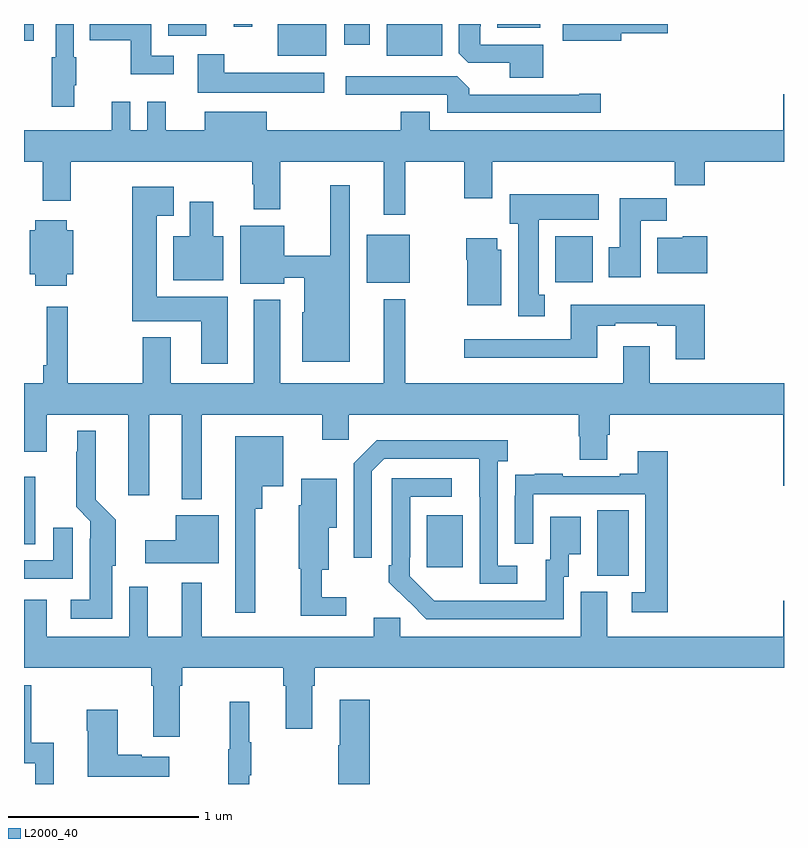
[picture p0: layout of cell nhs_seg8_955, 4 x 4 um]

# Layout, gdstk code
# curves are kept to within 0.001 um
import gdstk
lib = gdstk.Library(unit=1e-6, precision=1e-09)
def R(c, l, rs):  # rectangles x0, y0, x1, y1
    for r in rs: c.add(gdstk.rectangle(r[:2], r[2:], *l))
def P(c, l, *ps):  # polygons
    for p in ps: c.add(gdstk.Polygon(p, *l))
L2000_40 = (2000, 40)

nhs_seg8_955 = lib.new_cell('nhs_seg8_955')
R(nhs_seg8_955, L2000_40, [(176.018,1104.997,176.182,1105.34), (175.121,1105.041,175.309,1105.315), (173,1105.162,173.059,1105.516), (174.803,1106.537,175.03,1106.791), (175.796,1106.54,175.993,1106.782), (174.335,1107.734,174.592,1107.9), (174.908,1107.734,175.201,1107.9), (174.686,1107.792,174.82,1107.9), (173,1107.813,173.05,1107.9), (173.759,1107.839,173.959,1107.9), (175.49,1107.881,175.717,1107.9), (174.104,1107.885,174.202,1107.9)])
P(nhs_seg8_955, L2000_40, [(175.732,1107.792),(175.401,1107.792),(175.401,1107.889),(175.405,1107.889),(175.405,1107.9),(175.289,1107.9),(175.289,1107.745),(175.338,1107.696),(175.556,1107.696),(175.556,1107.617),(175.732,1107.617)],
  [(173.788,1107.732),(173.67,1107.732),(173.67,1107.9),(173.347,1107.9),(173.347,1107.814),(173.562,1107.814),(173.562,1107.635),(173.788,1107.635)],
  [(173.264,1107.577),(173.275,1107.577),(173.275,1107.725),(173.262,1107.725),(173.262,1107.9),(173.166,1107.9),(173.166,1107.725),(173.146,1107.725),(173.146,1107.465),(173.264,1107.465)],
  [(176.143,1107.851),(176.389,1107.851),(176.389,1107.9),(175.836,1107.9),(175.836,1107.812),(176.143,1107.812)],
  [(174.58,1107.643),(174.055,1107.643),(174.055,1107.742),(173.915,1107.742),(173.915,1107.539),(174.58,1107.539)],
  [(176.035,1107.533),(175.922,1107.533),(175.922,1107.528),(175.343,1107.528),(175.343,1107.562),(175.281,1107.624),(174.693,1107.624),(174.693,1107.528),(175.227,1107.528),(175.227,1107.432),(176.035,1107.432)],
  [(175.007,1107.176),(175.318,1107.176),(175.318,1106.982),(175.465,1106.982),(175.465,1107.176),(176.425,1107.176),(176.425,1107.052),(176.582,1107.052),(176.582,1107.176),(177,1107.176),(177,1107.529),(176.996,1107.529),(176.996,1107.34),(175.135,1107.34),(175.135,1107.439),(174.983,1107.439),(174.983,1107.34),(174.277,1107.34),(174.277,1107.439),(173.951,1107.439),(173.951,1107.34),(173.747,1107.34),(173.747,1107.49),(173.649,1107.49),(173.649,1107.34),(173.559,1107.34),(173.559,1107.49),(173.462,1107.49),(173.462,1107.34),(173,1107.34),(173,1107.176),(173.099,1107.176),(173.099,1106.97),(173.247,1106.97),(173.247,1107.176),(174.202,1107.176),(174.202,1107.056),(174.209,1107.056),(174.209,1106.924),(174.349,1106.924),(174.349,1107.176),(174.893,1107.176),(174.893,1106.895),(175.007,1106.895)],
  [(174.715,1107.052),(174.611,1107.052),(174.611,1106.681),(174.37,1106.681),(174.37,1106.839),(174.137,1106.839),(174.137,1106.534),(174.37,1106.534),(174.37,1106.564),(174.476,1106.564),(174.476,1106.382),(174.464,1106.382),(174.464,1106.123),(174.715,1106.123)],
  [(174.073,1106.464),(173.698,1106.464),(173.698,1106.891),(173.788,1106.891),(173.788,1107.043),(173.569,1107.043),(173.569,1106.336),(173.933,1106.336),(173.933,1106.112),(174.073,1106.112)],
  [(175.741,1106.474),(175.708,1106.474),(175.708,1106.87),(176.026,1106.87),(176.026,1107.004),(175.556,1107.004),(175.556,1106.85),(175.601,1106.85),(175.601,1106.361),(175.741,1106.361)],
  [(176.245,1106.864),(176.384,1106.864),(176.384,1106.983),(176.135,1106.983),(176.135,1106.724),(176.078,1106.724),(176.078,1106.568),(176.245,1106.568)],
  [(174.049,1106.782),(173.995,1106.782),(173.995,1106.965),(173.873,1106.965),(173.873,1106.782),(173.786,1106.782),(173.786,1106.552),(174.049,1106.552)],
  [(173.226,1106.582),(173.26,1106.582),(173.26,1106.815),(173.226,1106.815),(173.226,1106.866),(173.06,1106.866),(173.06,1106.815),(173.03,1106.815),(173.03,1106.582),(173.06,1106.582),(173.06,1106.522),(173.226,1106.522)],
  [(176.597,1106.782),(176.466,1106.782),(176.466,1106.776),(176.333,1106.776),(176.333,1106.588),(176.597,1106.588)],
  [(175.513,1106.712),(175.492,1106.712),(175.492,1106.773),(175.327,1106.773),(175.327,1106.66),(175.334,1106.66),(175.334,1106.42),(175.513,1106.42)],
  [(175.919,1105.731),(175.924,1105.731),(175.924,1105.606),(176.071,1105.606),(176.071,1105.738),(176.084,1105.738),(176.084,1105.844),(176.996,1105.844),(176.996,1105.47),(177,1105.47),(177,1106.008),(176.293,1106.008),(176.293,1106.203),(176.153,1106.203),(176.153,1106.008),(175.007,1106.008),(175.007,1106.452),(174.893,1106.452),(174.893,1106.008),(174.349,1106.008),(174.349,1106.449),(174.209,1106.449),(174.209,1106.008),(173.773,1106.008),(173.773,1106.251),(173.626,1106.251),(173.626,1106.008),(173.23,1106.008),(173.23,1106.413),(173.12,1106.413),(173.12,1106.104),(173.101,1106.104),(173.101,1106.008),(173,1106.008),(173,1105.65),(173.119,1105.65),(173.119,1105.844),(173.549,1105.844),(173.549,1105.419),(173.659,1105.419),(173.659,1105.844),(173.831,1105.844),(173.831,1105.4),(173.935,1105.4),(173.935,1105.844),(174.569,1105.844),(174.569,1105.713),(174.708,1105.713),(174.708,1105.844),(175.919,1105.844)],
  [(176.582,1106.422),(175.877,1106.422),(175.877,1106.241),(175.317,1106.241),(175.317,1106.144),(176.017,1106.144),(176.017,1106.313),(176.113,1106.313),(176.113,1106.325),(176.333,1106.325),(176.333,1106.313),(176.429,1106.313),(176.429,1106.136),(176.582,1106.136)],
  [(173.464,1105.05),(173.482,1105.05),(173.482,1105.29),(173.377,1105.396),(173.377,1105.759),(173.279,1105.759),(173.279,1105.649),(173.275,1105.649),(173.275,1105.358),(173.349,1105.284),(173.349,1105.19),(173.345,1105.19),(173.345,1104.871),(173.247,1104.871),(173.247,1104.77),(173.464,1104.77)],
  [(174.217,1105.349),(174.253,1105.349),(174.253,1105.466),(174.364,1105.466),(174.364,1105.729),(174.113,1105.729),(174.113,1104.801),(174.217,1104.801)],
  [(175.597,1105.05),(175.494,1105.05),(175.494,1105.598),(175.546,1105.598),(175.546,1105.708),(174.856,1105.708),(174.735,1105.587),(174.735,1105.092),(174.831,1105.092),(174.831,1105.545),(174.897,1105.611),(175.397,1105.611),(175.398,1104.954),(175.597,1104.954)],
  [(176.387,1105.651),(176.231,1105.651),(176.231,1105.534),(176.135,1105.534),(176.135,1105.521),(175.835,1105.521),(175.835,1105.534),(175.687,1105.534),(175.687,1105.527),(175.585,1105.527),(175.585,1105.418),(175.584,1105.418),(175.584,1105.164),(175.68,1105.164),(175.68,1105.425),(176.271,1105.425),(176.271,1104.909),(176.199,1104.909),(176.199,1104.804),(176.387,1104.804)],
  [(175.842,1104.99),(175.867,1104.99),(175.867,1105.109),(175.93,1105.109),(175.93,1105.306),(175.769,1105.306),(175.769,1105.08),(175.745,1105.08),(175.745,1104.864),(175.158,1104.865),(175.029,1104.993),(175.029,1105.093),(175.032,1105.093),(175.032,1105.413),(175.252,1105.413),(175.252,1105.509),(174.936,1105.509),(174.936,1105.051),(174.921,1105.051),(174.921,1104.963),(175.118,1104.768),(175.842,1104.768)],
  [(174.697,1104.883),(174.568,1104.883),(174.568,1105.028),(174.604,1105.028),(174.604,1105.25),(174.646,1105.25),(174.646,1105.507),(174.458,1105.507),(174.458,1105.368),(174.446,1105.368),(174.446,1105.032),(174.457,1105.032),(174.457,1104.786),(174.697,1104.786)],
  [(174.025,1105.315),(173.798,1105.315),(173.798,1105.183),(173.637,1105.183),(173.637,1105.061),(174.025,1105.061)],
  [(173.257,1105.249),(173.153,1105.249),(173.153,1105.077),(173,1105.077),(173,1104.981),(173.257,1104.981)],
  [(173.821,1104.416),(173.834,1104.416),(173.834,1104.512),(174.365,1104.512),(174.365,1104.416),(174.377,1104.416),(174.377,1104.192),(174.517,1104.192),(174.517,1104.416),(174.53,1104.416),(174.53,1104.512),(177,1104.512),(177,1104.865),(176.996,1104.865),(176.996,1104.676),(176.071,1104.676),(176.071,1104.912),(175.931,1104.912),(175.931,1104.676),(174.981,1104.676),(174.981,1104.774),(174.842,1104.774),(174.842,1104.676),(173.935,1104.676),(173.935,1104.958),(173.831,1104.958),(173.831,1104.676),(173.651,1104.676),(173.651,1104.937),(173.553,1104.937),(173.553,1104.676),(173.119,1104.676),(173.119,1104.871),(173,1104.871),(173,1104.512),(173.669,1104.512),(173.669,1104.416),(173.681,1104.416),(173.681,1104.15),(173.821,1104.15)],
  [(173.156,1104.118),(173.038,1104.118),(173.038,1104.42),(173,1104.42),(173,1104.009),(173.058,1104.009),(173.058,1103.9),(173.156,1103.9)],
  [(174.821,1104.343),(174.662,1104.343),(174.662,1104.104),(174.655,1104.104),(174.655,1103.9),(174.821,1103.9)],
  [(174.185,1103.947),(174.196,1103.947),(174.196,1104.121),(174.185,1104.121),(174.185,1104.334),(174.082,1104.334),(174.082,1104.084),(174.075,1104.084),(174.075,1103.9),(174.185,1103.9)],
  [(173.764,1104.043),(173.621,1104.043),(173.621,1104.053),(173.494,1104.053),(173.494,1104.292),(173.329,1104.292),(173.329,1104.179),(173.336,1104.179),(173.336,1103.939),(173.764,1103.939)])

lib.write_gds('nhs_seg8_955.gds')
